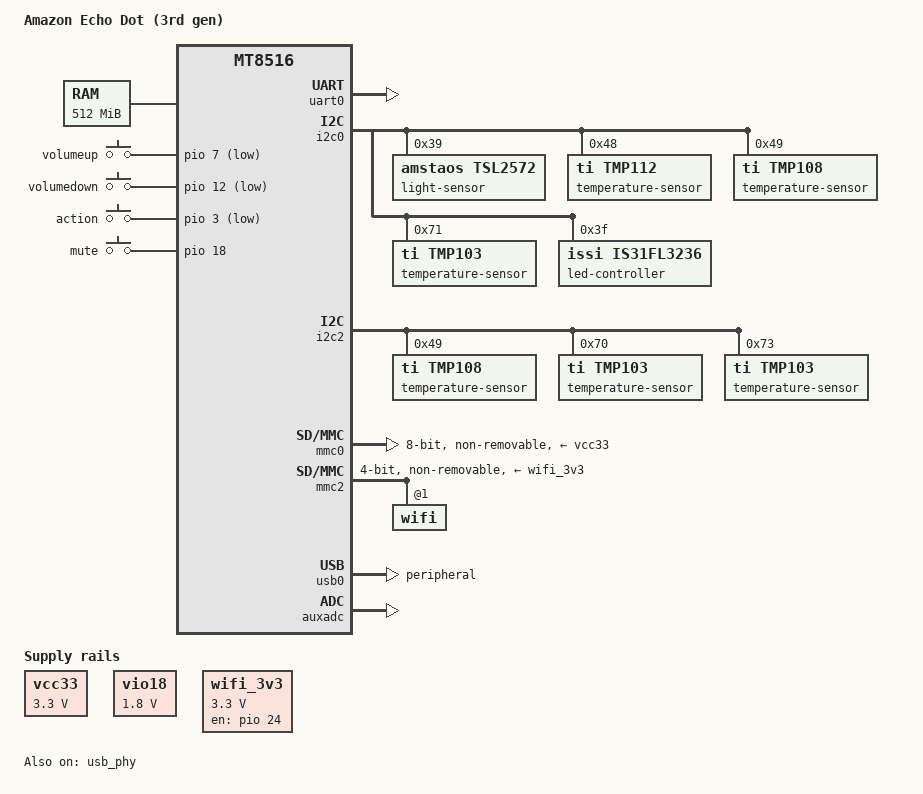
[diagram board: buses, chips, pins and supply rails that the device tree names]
// SPDX-License-Identifier: (GPL-2.0 OR MIT)
/*
 * Amazon Echo Dot (3rd generation), codename "donut".
 *
 * Written for the mainline bindings, structurally modeled on the lidar
 * board file (same MT8516 SoC, same boot chain). Hardware truth is taken,
 * in order of priority, from the DTB the retail unit actually boots
 * (reference/donut-stock-ns6529.dts, extracted from the 2019 OTA boot.img:
 * the stock image appends one DTB per board revision and Amazon LK hands
 * the kernel the one whose first compatible matches, "amzn,donut-proto"
 * on the rooted NS6529 unit), from Amazon's GPL device trees (donut.dtsi,
 * donut-proto/dvt/pvt.dts of the dot3-6.5.7.0 drop) and from techo5's
 * hardware notes (tools/techo5-dot/docs/hardware-donut.md).
 *
 * Retail units are DVT/PVT-era hardware: the proto DTB the rooted unit
 * boots lacks nodes (LED ring, TAS2770) that DVT/PVT DTBs carry and the
 * running hardware demonstrably has. Where the stock proto DTB and the
 * later hardware disagree, the conflicting nodes below follow the
 * DVT/PVT trees and techo5 observation; each is marked with a comment.
 *
 * Power: no MT6392 PMIC consumers are described (the integrated-codec
 * port that needs pwrap is a stretch task); every modeled rail is fixed
 * or a GPIO switch.
 */

/dts-v1/;

#include <dt-bindings/gpio/gpio.h>
#include <dt-bindings/input/input.h>
#include "mt8516.dtsi"

/ {
	model = "Amazon Echo Dot (3rd gen)";
	/*
	 * Amazon LK only hands a DTB to the kernel whose first compatible
	 * matches the board revision exactly; retail 2019 units (NS6529)
	 * boot the proto DTB from the stock boot image.
	 */
	compatible = "amzn,donut-proto", "amzn,donut", "mediatek,mt8516";
	chassis-type = "embedded";

	aliases {
		serial0 = &uart0;
		mmc0 = &mmc0;
		mmc1 = &mmc2;
	};

	chosen {
		stdout-path = "serial0:921600n8";
	};

	memory@40000000 {
		device_type = "memory";
		/*
		 * 512 MB as in the stock DTB (vendor donut.dtsi keeps the
		 * region whole; the BL31 reservation at 0x43000000 is a
		 * reserved-memory node inherited from mt8516.dtsi).
		 */
		reg = <0 0x40000000 0 0x20000000>;
	};

	/*
	 * Previous boot's console and oops log (pstore). Placed above the
	 * 0x44000000-0x56000000 window mainline U-Boot loads kernel, DTB
	 * and initramfs into (and where the vendor kernel's own crash area
	 * at 0x44400000 lives), and below the top of RAM where LK relocates
	 * itself on a warm reboot; 16 MiB of headroom are left at the top.
	 * Any later consumer of high memory must stay below 0x5f000000 or
	 * above 0x60000000 (out of RAM on this board).
	 */
	reserved-memory {
		#address-cells = <2>;
		#size-cells = <2>;
		ranges;

		ramoops@5f000000 {
			compatible = "ramoops";
			reg = <0 0x5f000000 0 0x100000>;
			record-size = <0x20000>;
			console-size = <0x80000>;
			pmsg-size = <0x20000>;
		};
	};

	/*
	 * Amazon's BL31 does not give the kernel access to the PMU
	 * registers, so the armv8_pmu probe hangs (same firmware as lidar).
	 */
	pmu {
		status = "disabled";
	};

	vcc33: regulator-vcc33 {
		compatible = "regulator-fixed";
		regulator-name = "vcc33";
		regulator-min-microvolt = <3300000>;
		regulator-max-microvolt = <3300000>;
		regulator-always-on;
		regulator-boot-on;
	};

	vio18: regulator-vio18 {
		compatible = "regulator-fixed";
		regulator-name = "vio18";
		regulator-min-microvolt = <1800000>;
		regulator-max-microvolt = <1800000>;
		regulator-always-on;
		regulator-boot-on;
	};

	/*
	 * MT7668 Wi-Fi/BT combo power: PMU_EN on GPIO24. The stock proto
	 * DTB's own fixed regulator drives pio 24 with a 500 ms startup
	 * delay (sdio_fixed_3v3, startup-delay-us = <0x7a120>), so that is
	 * the wiring used here. The vendor 4.4 tree additionally names pio
	 * 48 in its "mediatek,connectivity-combo" node (GPIO_COMBO_PMU_EN)
	 * for the consys framework, which is 4.4-only and has no mainline
	 * equivalent; the fixed regulator on GPIO24 is the only mainline
	 * consumer of PMU_EN and matches the stock DTB.
	 */
	wifi_3v3: regulator-wifi-3v3 {
		compatible = "regulator-fixed";
		regulator-name = "wifi_3v3";
		regulator-min-microvolt = <3300000>;
		regulator-max-microvolt = <3300000>;
		gpio = <&pio 24 GPIO_ACTIVE_HIGH>;
		enable-active-high;
		startup-delay-us = <500000>;
		/* vendor driver holds PMU_EN low 5 ms when resetting the chip */
		off-on-delay-us = <5000>;
		pinctrl-names = "default";
		pinctrl-0 = <&wifi_pmu_en_pins>;
	};

	gpio-keys {
		compatible = "gpio-keys";
		pinctrl-names = "default";
		pinctrl-0 = <&gpio_keys_pins>, <&board_hog_pins>;

		key-volume-up {
			label = "volumeup";
			gpios = <&pio 7 GPIO_ACTIVE_LOW>;
			linux,code = <KEY_VOLUMEUP>;
			debounce-interval = <50>;
			wakeup-source;
		};

		key-volume-down {
			label = "volumedown";
			gpios = <&pio 12 GPIO_ACTIVE_LOW>;
			linux,code = <KEY_VOLUMEDOWN>;
			debounce-interval = <50>;
			wakeup-source;
		};

		key-action {
			label = "action";
			gpios = <&pio 3 GPIO_ACTIVE_LOW>;
			/* as stock: KEY_HELP (0x8a = 138) */
			linux,code = <KEY_HELP>;
			debounce-interval = <50>;
			wakeup-source;
		};

		/*
		 * The microphone mute button drives a hardware latch that
		 * cuts the microphones; software can only observe it. GPIO18
		 * carries the latched state (high = microphones cut off), and
		 * the vendor gpio-privacy driver emits code 113 (KEY_MUTE,
		 * debounce 200 ms) when it changes. GPIO107 (active low)
		 * would let software force privacy mode on; it is kept
		 * released (driven high) and there is deliberately no path
		 * that models an unmute: only the button unlatches.
		 */
		key-mute {
			label = "mute";
			gpios = <&pio 18 GPIO_ACTIVE_HIGH>;
			linux,code = <KEY_MUTE>;
			debounce-interval = <200>;
			wakeup-source;
		};
	};
};

&pio {
	/*
	 * Board-level line defaults applied through the gpio-keys and LED
	 * controller pinctrl states; the lines stay unclaimed afterwards.
	 */
	board_hog_pins: board-hog-pins {
		pins-privacy-enable {
			/*
			 * GPIO107 (active low) lets software force privacy
			 * mode on; keep it released so the latch is only ever
			 * driven by the mute button.
			 */
			pinmux = <MT8516_PIN_107_MSDC1_DAT1__FUNC_GPIO107>;
			output-high;
		};
	};

	led_sdb_pins: led-sdb-pins {
		pins-led-sdb {
			/* IS31FL3236 SDB: low = hardware shutdown */
			pinmux = <MT8516_PIN_4_EINT4__FUNC_GPIO4>;
			output-high;
		};
	};

	gpio_keys_pins: gpio-keys-pins {
		pins-keys {
			pinmux = <MT8516_PIN_7_EINT7__FUNC_GPIO7>,
				 <MT8516_PIN_12_EINT12__FUNC_GPIO12>,
				 <MT8516_PIN_3_EINT3__FUNC_GPIO3>;
			bias-pull-up;
			input-enable;
		};

		pins-mute-latch {
			pinmux = <MT8516_PIN_18_EINT18__FUNC_GPIO18>;
			bias-disable;
			input-enable;
		};
	};

	i2c0_pins: i2c0-pins {
		pins-bus {
			pinmux = <MT8516_PIN_58_SDA0__FUNC_SDA0_0>,
				 <MT8516_PIN_59_SCL0__FUNC_SCL0_0>;
			bias-disable;
		};
	};

	i2c2_pins: i2c2-pins {
		pins-bus {
			pinmux = <MT8516_PIN_60_SDA2__FUNC_SDA2_0>,
				 <MT8516_PIN_61_SCL2__FUNC_SCL2_0>;
			bias-disable;
		};
	};

	mmc0_pins_default: mmc0-default-pins {
		pins-cmd-dat {
			pinmux = <MT8516_PIN_120_MSDC0_DAT0__FUNC_MSDC0_DAT0>,
				 <MT8516_PIN_119_MSDC0_DAT1__FUNC_MSDC0_DAT1>,
				 <MT8516_PIN_118_MSDC0_DAT2__FUNC_MSDC0_DAT2>,
				 <MT8516_PIN_117_MSDC0_DAT3__FUNC_MSDC0_DAT3>,
				 <MT8516_PIN_113_MSDC0_DAT4__FUNC_MSDC0_DAT4>,
				 <MT8516_PIN_112_MSDC0_DAT5__FUNC_MSDC0_DAT5>,
				 <MT8516_PIN_111_MSDC0_DAT6__FUNC_MSDC0_DAT6>,
				 <MT8516_PIN_110_MSDC0_DAT7__FUNC_MSDC0_DAT7>,
				 <MT8516_PIN_115_MSDC0_CMD__FUNC_MSDC0_CMD>;
			input-enable;
			bias-pull-up;
		};

		pins-clk {
			pinmux = <MT8516_PIN_116_MSDC0_CLK__FUNC_MSDC0_CLK>;
			bias-pull-down;
		};

		pins-rst {
			pinmux = <MT8516_PIN_114_MSDC0_RSTB__FUNC_MSDC0_RSTB>;
			bias-pull-up;
		};
	};

	mmc0_pins_uhs: mmc0-uhs-pins {
		pins-cmd-dat {
			pinmux = <MT8516_PIN_120_MSDC0_DAT0__FUNC_MSDC0_DAT0>,
				 <MT8516_PIN_119_MSDC0_DAT1__FUNC_MSDC0_DAT1>,
				 <MT8516_PIN_118_MSDC0_DAT2__FUNC_MSDC0_DAT2>,
				 <MT8516_PIN_117_MSDC0_DAT3__FUNC_MSDC0_DAT3>,
				 <MT8516_PIN_113_MSDC0_DAT4__FUNC_MSDC0_DAT4>,
				 <MT8516_PIN_112_MSDC0_DAT5__FUNC_MSDC0_DAT5>,
				 <MT8516_PIN_111_MSDC0_DAT6__FUNC_MSDC0_DAT6>,
				 <MT8516_PIN_110_MSDC0_DAT7__FUNC_MSDC0_DAT7>,
				 <MT8516_PIN_115_MSDC0_CMD__FUNC_MSDC0_CMD>;
			input-enable;
			drive-strength = <6>;
			bias-pull-up = <MTK_PUPD_SET_R1R0_01>;
		};

		pins-clk {
			pinmux = <MT8516_PIN_116_MSDC0_CLK__FUNC_MSDC0_CLK>;
			drive-strength = <8>;
			bias-pull-down = <MTK_PUPD_SET_R1R0_10>;
		};

		pins-rst {
			pinmux = <MT8516_PIN_114_MSDC0_RSTB__FUNC_MSDC0_RSTB>;
			bias-pull-up;
		};
	};

	mmc2_pins_default: mmc2-default-pins {
		pins-cmd-dat {
			pinmux = <MT8516_PIN_70_MSDC2_DAT0__FUNC_MSDC2_DAT0>,
				 <MT8516_PIN_71_MSDC2_DAT1__FUNC_MSDC2_DAT1>,
				 <MT8516_PIN_72_MSDC2_DAT2__FUNC_MSDC2_DAT2>,
				 <MT8516_PIN_73_MSDC2_DAT3__FUNC_MSDC2_DAT3>,
				 <MT8516_PIN_68_MSDC2_CMD__FUNC_MSDC2_CMD>;
			input-enable;
			drive-strength = <8>;
			bias-pull-up = <MTK_PUPD_SET_R1R0_10>;
		};

		pins-clk {
			pinmux = <MT8516_PIN_69_MSDC2_CLK__FUNC_MSDC2_CLK>;
			drive-strength = <8>;
			bias-pull-down = <MTK_PUPD_SET_R1R0_10>;
		};
	};

	uart0_pins: uart0-pins {
		pins-rx {
			pinmux = <MT8516_PIN_62_URXD0__FUNC_URXD0>;
			bias-pull-up;
		};

		pins-tx {
			pinmux = <MT8516_PIN_63_UTXD0__FUNC_UTXD0>;
		};
	};

	wifi_pmu_en_pins: wifi-pmu-en-pins {
		pins-pmu-en {
			pinmux = <MT8516_PIN_24_EINT24__FUNC_GPIO24>;
			bias-disable;
		};
	};
};

/* Debug console (test pads, 921600 8N1); vendor bootargs use 921600n1 */
&uart0 {
	pinctrl-names = "default";
	pinctrl-0 = <&uart0_pins>;
	status = "okay";
};

&i2c0 {
	pinctrl-names = "default";
	pinctrl-0 = <&i2c0_pins>;
	status = "okay";

	/*
	 * Light sensor behind the top grille. The stock tree names it
	 * "tsl2572" (stock DTB i2c0 0x39, vendor tsl25723@39); TSL2572
	 * devices are covered by the mainline tsl2772 driver.
	 */
	light-sensor@39 {
		compatible = "amstaos,tsl2572";
		reg = <0x39>;
	};

	temperature-sensor@48 {
		compatible = "ti,tmp112";
		reg = <0x48>;
		#thermal-sensor-cells = <0>;
	};

	temperature-sensor@49 {
		compatible = "ti,tmp108";
		reg = <0x49>;
		#thermal-sensor-cells = <0>;
	};

	temperature-sensor@71 {
		compatible = "ti,tmp103";
		reg = <0x71>;
	};

	/*
	 * LED ring, 12 RGB LEDs on 36 channels at 0x3f. Present on the
	 * retail hardware (DVT/PVT DTBs and techo5 observation); the proto
	 * DTB the rooted unit boots instead carries an IS31FL3208 at 0x6f
	 * for the same ring, for which no mainline driver exists - that
	 * chip is deliberately not described (an M0 i2c probe decides
	 * which controller the ring really uses). The vendor driver maps
	 * ring slot i to channel (i + 3) % 36 (channel-offset = 3), so
	 * ring1 starts at reg 4 and wraps around at ring12 (reg 1-3).
	 * The vendor sets a 25 kHz PWM; mainline's plain is31fl3236 path
	 * has no PWM-frequency register (only the -A variant does), so
	 * the ring runs at the chip power-on default until that is
	 * revisited.
	 */
	led-controller@3f {
		compatible = "issi,is31fl3236";
		pinctrl-names = "default";
		pinctrl-0 = <&led_sdb_pins>;
		reg = <0x3f>;
		#address-cells = <1>;
		#size-cells = <0>;

		led@1 { reg = <1>; label = "ring12:red"; };
		led@2 { reg = <2>; label = "ring12:green"; };
		led@3 { reg = <3>; label = "ring12:blue"; };
		led@4 { reg = <4>; label = "ring1:red"; };
		led@5 { reg = <5>; label = "ring1:green"; };
		led@6 { reg = <6>; label = "ring1:blue"; };
		led@7 { reg = <7>; label = "ring2:red"; };
		led@8 { reg = <8>; label = "ring2:green"; };
		led@9 { reg = <9>; label = "ring2:blue"; };
		led@a { reg = <10>; label = "ring3:red"; };
		led@b { reg = <11>; label = "ring3:green"; };
		led@c { reg = <12>; label = "ring3:blue"; };
		led@d { reg = <13>; label = "ring4:red"; };
		led@e { reg = <14>; label = "ring4:green"; };
		led@f { reg = <15>; label = "ring4:blue"; };
		led@10 { reg = <16>; label = "ring5:red"; };
		led@11 { reg = <17>; label = "ring5:green"; };
		led@12 { reg = <18>; label = "ring5:blue"; };
		led@13 { reg = <19>; label = "ring6:red"; };
		led@14 { reg = <20>; label = "ring6:green"; };
		led@15 { reg = <21>; label = "ring6:blue"; };
		led@16 { reg = <22>; label = "ring7:red"; };
		led@17 { reg = <23>; label = "ring7:green"; };
		led@18 { reg = <24>; label = "ring7:blue"; };
		led@19 { reg = <25>; label = "ring8:red"; };
		led@1a { reg = <26>; label = "ring8:green"; };
		led@1b { reg = <27>; label = "ring8:blue"; };
		led@1c { reg = <28>; label = "ring9:red"; };
		led@1d { reg = <29>; label = "ring9:green"; };
		led@1e { reg = <30>; label = "ring9:blue"; };
		led@1f { reg = <31>; label = "ring10:red"; };
		led@20 { reg = <32>; label = "ring10:green"; };
		led@21 { reg = <33>; label = "ring10:blue"; };
		led@22 { reg = <34>; label = "ring11:red"; };
		led@23 { reg = <35>; label = "ring11:green"; };
		led@24 { reg = <36>; label = "ring11:blue"; };
	};
};

&i2c2 {
	pinctrl-names = "default";
	pinctrl-0 = <&i2c2_pins>;
	status = "okay";

	temperature-sensor@49 {
		compatible = "ti,tmp108";
		reg = <0x49>;
		#thermal-sensor-cells = <0>;
	};

	temperature-sensor@70 {
		compatible = "ti,tmp103";
		reg = <0x70>;
	};

	temperature-sensor@73 {
		compatible = "ti,tmp103";
		reg = <0x73>;
	};
};

/* eMMC (4 GB) */
&mmc0 {
	pinctrl-names = "default", "state_uhs";
	pinctrl-0 = <&mmc0_pins_default>;
	pinctrl-1 = <&mmc0_pins_uhs>;
	bus-width = <8>;
	max-frequency = <200000000>;
	cap-mmc-highspeed;
	mmc-hs200-1_8v;
	cap-mmc-hw-reset;
	vmmc-supply = <&vcc33>;
	vqmmc-supply = <&vio18>;
	non-removable;
	status = "okay";
};

/* MediaTek MT7668 Wi-Fi/Bluetooth combo, SDIO 3.0 */
&mmc2 {
	pinctrl-names = "default", "state_uhs";
	pinctrl-0 = <&mmc2_pins_default>;
	pinctrl-1 = <&mmc2_pins_default>;
	bus-width = <4>;
	max-frequency = <200000000>;
	cap-sd-highspeed;
	sd-uhs-sdr50;
	sd-uhs-sdr104;
	cap-sdio-irq;
	keep-power-in-suspend;
	wakeup-source;
	non-removable;
	vmmc-supply = <&wifi_3v3>;
	/* MSDC2 pads are fixed 1.8 V; stock describes no vqmmc */
	no-sd;
	no-mmc;
	#address-cells = <1>;
	#size-cells = <0>;
	status = "okay";

	/*
	 * SDIO function 1 = WLAN (wlan_mt76x8_sdio), function 2 =
	 * Bluetooth (btmtksdio); neither needs a child node.
	 */
	wifi: wifi@1 {
		reg = <1>;
	};
};

/* USB pads on TM4/TM5; device-mode console and fastboot for M2 */
&usb0 {
	dr_mode = "peripheral";
	status = "okay";
};

&usb_phy {
	status = "okay";
};

&auxadc {
	status = "okay";
};

/*
 * The PSCI CPU and cluster idle states need the MediaTek SPM firmware,
 * which mainline does not load (same firmware situation as lidar); a
 * CPU entering those states never returns.
 */
&cpu0 {
	/delete-property/ cpu-idle-states;
};

&cpu1 {
	/delete-property/ cpu-idle-states;
};

&cpu2 {
	/delete-property/ cpu-idle-states;
};

&cpu3 {
	/delete-property/ cpu-idle-states;
};

/*
 * Vendor-only nodes deliberately not translated (kept for M0 reference):
 *
 *  - i2c1 0x57 "rt5738_buck"/"rt5748": Vproc buck (RT5738L class, VSEL
 *    on GPIO9 on proto). No mainline binding for the L part; the CPUs
 *    run without a proc-supply until M0 evidence justifies one.
 *  - i2c0 0x6f issi,is31fl3208: proto-era LED ring controller, no
 *    mainline driver; no node and no port on purpose (spec §9).
 *  - i2c0 0x10 capella,cm3232 and 0x63 mediatek,strobe_main: no
 *    mainline consumers.
 *  - i2c0 0x44 ti,opt3001: DVT/PVT-only ambient light sensor, absent
 *    from the stock proto DTB the rooted unit runs.
 *  - ethernet@11180000 (RMII), panel/display (kd,kd070d5450nha6 on
 *    GPIO50), hdmi0, irrx, keypad/led6 (ate_gpio GPIO43), pwm:
 *    peripherals without mainline consumers on this board.
 *  - amazon,virtual_sensor_thermistor (therm0-3, auxadc channels 9,
 *    12-14), amazon,wifi_temp_sensor, skin/case virtual sensors and
 *    amazon,thermal_cooler nodes: 4.4-only thermal framework.
 *  - mediatek,connectivity-combo: 4.4-only consys framework (see the
 *    wifi_3v3 comment above for the GPIO24/GPIO48 cross-check).
 *    (The mt8167 integrated codec and accdet land with the audio
 *    dtsi — Task 8.)
 *  - msdc1: no card slot on this board (disabled in stock too).
 */

#include "mt8516-amazon-donut-audio.dtsi"
